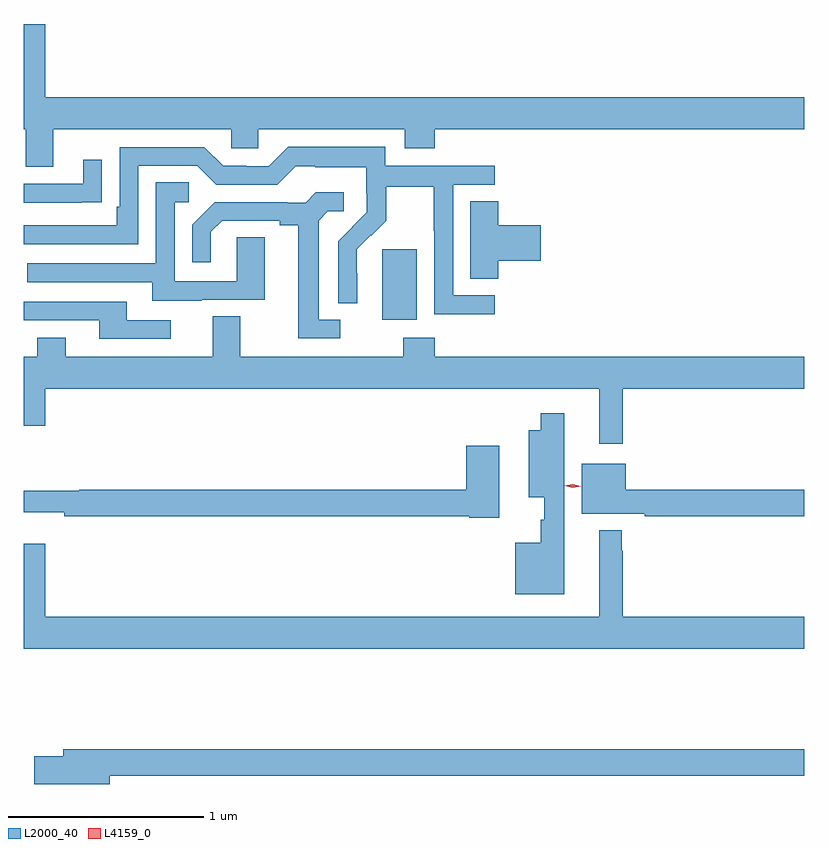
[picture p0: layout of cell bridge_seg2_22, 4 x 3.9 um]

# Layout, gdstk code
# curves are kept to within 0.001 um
import gdstk
lib = gdstk.Library(unit=1e-6, precision=1e-09)
def R(c, l, rs):  # rectangles x0, y0, x1, y1
    for r in rs: c.add(gdstk.rectangle(r[:2], r[2:], *l))
def P(c, l, *ps):  # polygons
    for p in ps: c.add(gdstk.Polygon(p, *l))
L2000_40 = (2000, 40)
L4159_0 = (4159, 0)

bridge_seg2_22 = lib.new_cell('bridge_seg2_22')
R(bridge_seg2_22, L2000_40, [(838.226,638.666,838.405,639.027)])
P(bridge_seg2_22, L2000_40, [(836.539,639.644),(837.453,639.644),(837.453,639.546),(837.591,639.546),(837.591,639.644),(838.343,639.644),(838.343,639.545),(838.496,639.545),(838.496,639.644),(840.39,639.644),(840.39,639.808),(836.5,639.808),(836.5,640.183),(836.39,640.183),(836.39,639.644),(836.399,639.644),(836.399,639.45),(836.539,639.45)],
  [(838.804,638.793),(838.59,638.793),(838.59,639.36),(838.804,639.36),(838.804,639.456),(838.242,639.456),(838.242,639.553),(837.745,639.553),(837.645,639.453),(837.53,639.453),(837.53,639.456),(837.411,639.456),(837.315,639.552),(836.88,639.552),(836.88,639.247),(836.867,639.247),(836.867,639.15),(836.39,639.15),(836.39,639.054),(836.976,639.054),(836.976,639.456),(837.279,639.456),(837.375,639.36),(837.69,639.36),(837.783,639.453),(837.883,639.453),(837.883,639.449),(838.146,639.449),(838.146,639.315),(838.148,639.315),(838.148,639.218),(838.002,639.07),(838.002,638.752),(838.098,638.752),(838.097,639.029),(838.167,639.099),(838.17,639.096),(838.247,639.173),(838.247,639.348),(838.492,639.348),(838.492,639.124),(838.494,639.124),(838.494,638.695),(838.804,638.695)],
  [(836.687,639.268),(836.789,639.268),(836.789,639.487),(836.693,639.487),(836.693,639.363),(836.39,639.363),(836.39,639.267),(836.687,639.267)],
  [(837.301,638.769),(837.625,638.769),(837.625,639.089),(837.48,639.089),(837.48,638.865),(837.162,638.865),(837.162,639.27),(837.235,639.27),(837.235,639.371),(837.066,639.371),(837.066,638.955),(836.407,638.955),(836.407,638.859),(837.047,638.859),(837.047,638.765),(837.301,638.765)],
  [(838.012,638.667),(837.901,638.667),(837.901,639.175),(837.948,639.222),(838.03,639.222),(838.03,639.319),(837.886,639.319),(837.834,639.267),(837.74,639.267),(837.74,639.27),(837.368,639.27),(837.252,639.154),(837.252,638.961),(837.349,638.961),(837.349,639.117),(837.406,639.174),(837.701,639.174),(837.701,639.152),(837.797,639.152),(837.797,638.571),(838.012,638.571)],
  [(838.823,638.969),(839.041,638.969),(839.041,639.152),(838.823,639.152),(838.823,639.275),(838.679,639.275),(838.679,638.878),(838.823,638.878)],
  [(837.142,638.664),(836.917,638.664),(836.917,638.76),(836.39,638.76),(836.39,638.664),(836.777,638.664),(836.777,638.568),(837.142,638.568)],
  [(839.461,638.312),(840.39,638.312),(840.39,638.476),(838.496,638.476),(838.496,638.575),(838.336,638.575),(838.336,638.476),(837.499,638.476),(837.499,638.684),(837.359,638.684),(837.359,638.476),(836.605,638.476),(836.605,638.575),(836.458,638.575),(836.458,638.476),(836.39,638.476),(836.39,638.124),(836.5,638.124),(836.5,638.312),(839.339,638.312),(839.339,638.031),(839.461,638.031)],
  [(839.161,638.188),(839.04,638.188),(839.04,638.101),(838.979,638.101),(838.979,637.757),(839.057,637.757),(839.057,637.64),(839.04,637.64),(839.04,637.522),(838.91,637.522),(838.91,637.259),(839.161,637.259)],
  [(838.828,638.02),(838.658,638.02),(838.658,637.796),(836.674,637.796),(836.674,637.789),(836.39,637.789),(836.39,637.679),(836.596,637.679),(836.596,637.66),(838.674,637.66),(838.674,637.652),(838.828,637.652)],
  [(840.39,637.796),(839.476,637.796),(839.476,637.927),(839.249,637.927),(839.249,637.673),(839.572,637.673),(839.572,637.66),(840.39,637.66)],
  [(840.39,637.144),(839.461,637.144),(839.461,637.481),(839.454,637.481),(839.454,637.588),(839.339,637.588),(839.339,637.144),(836.5,637.144),(836.5,637.519),(836.39,637.519),(836.39,636.98),(840.39,636.98)],
  [(836.83,636.328),(840.39,636.328),(840.39,636.464),(836.591,636.464),(836.591,636.428),(836.442,636.428),(836.442,636.286),(836.83,636.286)])
P(bridge_seg2_22, L4159_0, [(839.204,637.804),(839.164,637.815),(839.163,637.815),(839.164,637.815),(839.204,637.824),(839.244,637.813),(839.244,637.813),(839.244,637.812)])

lib.write_gds('bridge_seg2_22.gds')
